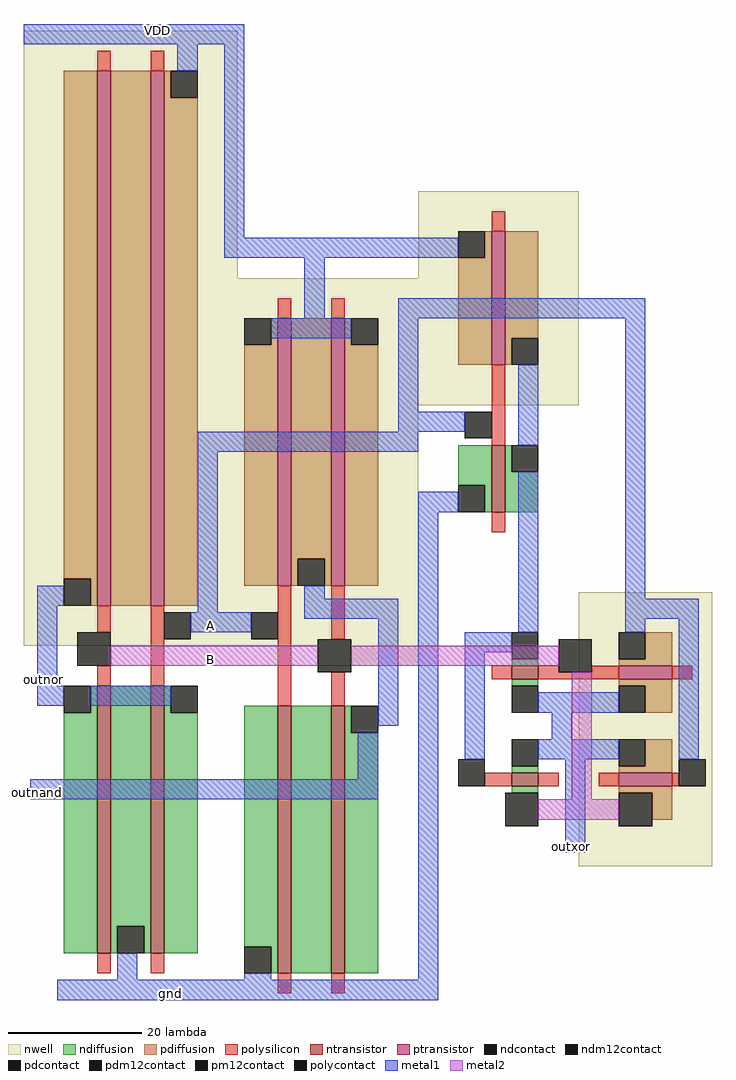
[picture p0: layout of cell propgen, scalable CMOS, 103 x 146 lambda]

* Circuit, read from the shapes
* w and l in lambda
.subckt propgen A B VDD gnd outnand outnor outxor
M1 gnd B outnor VSUBS nfet w=40 l=2
M2 outnor A gnd VSUBS nfet w=40 l=2
M3 n1 A gnd VSUBS nfet w=40 l=2
M4 outnand B n1 VSUBS nfet w=40 l=2
M5 n2 A gnd VSUBS nfet w=10 l=2
M6 outxor n2 B VSUBS nfet w=4 l=2
M7 n2 B outxor VSUBS nfet w=4 l=2
M8 n3 B outnor n4 pfet w=80 l=2
M9 VDD A n3 n4 pfet w=80 l=2
M10 outnand A VDD n4 pfet w=40 l=2
M11 VDD B outnand n4 pfet w=40 l=2
M12 n2 A VDD n4 pfet w=20 l=2
M13 outxor A B n5 pfet w=8 l=2
M14 A B outxor n5 pfet w=8 l=2
.ends

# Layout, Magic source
magic
tech scmos
<< nwell >>
rect -184 246 -152 283
rect -125 246 -101 259
rect -184 227 -101 246
rect -184 191 -125 227
rect -140 188 -125 191
rect -101 158 -81 199
<< ntransistor >>
rect -114 211 -112 221
rect -173 145 -171 185
rect -165 145 -163 185
rect -111 186 -107 188
rect -146 142 -144 182
rect -138 142 -136 182
rect -111 170 -107 172
<< ptransistor >>
rect -173 197 -171 277
rect -165 197 -163 277
rect -146 200 -144 240
rect -138 200 -136 240
rect -114 233 -112 253
rect -95 186 -87 188
rect -95 170 -87 172
<< ndiffusion >>
rect -119 215 -114 221
rect -115 211 -114 215
rect -112 217 -111 221
rect -112 211 -107 217
rect -174 181 -173 185
rect -178 145 -173 181
rect -171 149 -165 185
rect -171 145 -170 149
rect -166 145 -165 149
rect -163 181 -162 185
rect -111 188 -107 189
rect -111 185 -107 186
rect -163 145 -158 181
rect -151 146 -146 182
rect -147 142 -146 146
rect -144 142 -138 182
rect -136 178 -135 182
rect -136 142 -131 178
rect -111 172 -107 173
rect -111 169 -107 170
<< pdiffusion >>
rect -178 201 -173 277
rect -174 197 -173 201
rect -171 197 -165 277
rect -163 273 -162 277
rect -163 197 -158 273
rect -115 249 -114 253
rect -147 236 -146 240
rect -151 200 -146 236
rect -144 204 -138 240
rect -144 200 -143 204
rect -139 200 -138 204
rect -136 236 -135 240
rect -136 200 -131 236
rect -119 233 -114 249
rect -112 237 -107 253
rect -112 233 -111 237
rect -91 189 -87 193
rect -95 188 -87 189
rect -95 185 -87 186
rect -91 181 -87 185
rect -91 173 -87 177
rect -95 172 -87 173
rect -95 169 -87 170
rect -90 165 -87 169
<< ndcontact >>
rect -119 211 -115 215
rect -111 217 -107 221
rect -178 181 -174 185
rect -170 145 -166 149
rect -162 181 -158 185
rect -111 189 -107 193
rect -151 142 -147 146
rect -135 178 -131 182
rect -111 181 -107 185
rect -111 173 -107 177
<< pdcontact >>
rect -178 197 -174 201
rect -162 273 -158 277
rect -119 249 -115 253
rect -151 236 -147 240
rect -143 200 -139 204
rect -135 236 -131 240
rect -111 233 -107 237
rect -95 189 -91 193
rect -95 181 -91 185
rect -95 173 -91 177
<< polysilicon >>
rect -173 277 -171 280
rect -165 277 -163 280
rect -114 253 -112 256
rect -146 240 -144 243
rect -138 240 -136 243
rect -114 221 -112 233
rect -114 208 -112 211
rect -173 193 -171 197
rect -173 185 -171 188
rect -165 185 -163 197
rect -146 182 -144 200
rect -138 192 -136 200
rect -138 182 -136 187
rect -114 186 -111 188
rect -107 187 -104 188
rect -99 187 -95 188
rect -107 186 -95 187
rect -87 186 -84 188
rect -173 142 -171 145
rect -165 142 -163 145
rect -115 170 -111 172
rect -107 170 -104 172
rect -98 170 -95 172
rect -87 170 -86 172
rect -146 139 -144 142
rect -138 139 -136 142
<< polycontact >>
rect -118 222 -114 226
rect -163 192 -159 196
rect -150 192 -146 196
rect -119 170 -115 174
rect -86 170 -82 174
<< metal1 >>
rect -184 281 -151 284
rect -161 277 -158 281
rect -154 252 -151 281
rect -154 249 -119 252
rect -142 240 -139 249
rect -128 240 -91 243
rect -147 237 -135 240
rect -128 226 -125 240
rect -128 223 -118 226
rect -158 220 -125 223
rect -110 221 -107 233
rect -182 197 -178 200
rect -182 185 -179 197
rect -158 196 -155 220
rect -125 211 -119 214
rect -142 198 -139 200
rect -159 193 -150 196
rect -142 195 -128 198
rect -182 182 -178 185
rect -174 182 -162 185
rect -131 179 -128 195
rect -134 171 -131 178
rect -183 168 -131 171
rect -170 141 -167 145
rect -151 141 -147 142
rect -125 141 -122 211
rect -110 193 -107 217
rect -94 198 -91 240
rect -94 195 -83 198
rect -94 193 -91 195
rect -118 190 -111 193
rect -118 174 -115 190
rect -107 181 -95 184
rect -105 177 -102 181
rect -107 174 -95 177
rect -103 160 -100 174
rect -86 174 -83 195
rect -179 138 -122 141
<< pm12contact >>
rect -176 188 -171 193
rect -140 187 -135 192
rect -104 187 -99 192
<< pdm12contact >>
rect -95 164 -90 169
<< ndm12contact >>
rect -112 164 -107 169
<< metal2 >>
rect -171 188 -140 191
rect -135 188 -104 191
rect -102 168 -99 187
rect -107 165 -95 168
<< labels >>
rlabel metal2 -156 189 -156 189 7 B
rlabel metal1 -156 194 -156 194 7 A
rlabel metal1 -164 283 -164 283 5 VDD
rlabel metal1 -162 139 -162 139 1 gnd
rlabel metal1 -181 186 -181 186 3 outnor
rlabel metal1 -182 169 -182 169 3 outnand
rlabel metal1 -102 161 -102 161 1 outxor
<< end >>
